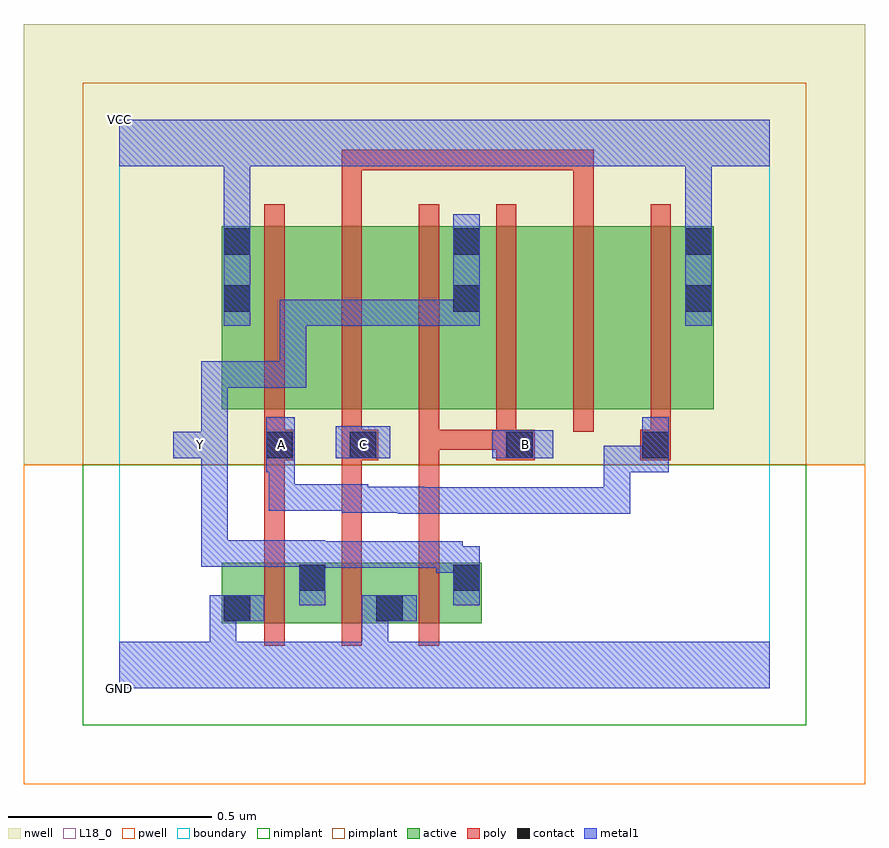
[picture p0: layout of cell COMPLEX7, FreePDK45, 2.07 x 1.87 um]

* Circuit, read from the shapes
.subckt COMPLEX7 A B C GND VCC Y
M1 Y A GND VSUBS nfet w=0.15u l=0.05u
M2 GND C Y VSUBS nfet w=0.15u l=0.05u
M3 Y B GND VSUBS nfet w=0.15u l=0.05u
M4 n1 A VCC n2 pfet w=0.45u l=0.05u
M5 n3 C n1 n2 pfet w=0.45u l=0.05u
M6 Y B n3 n2 pfet w=0.45u l=0.05u
M7 n4 B Y n2 pfet w=0.45u l=0.05u
M8 n5 C n4 n2 pfet w=0.45u l=0.05u
M9 VCC A n5 n2 pfet w=0.45u l=0.05u
.ends

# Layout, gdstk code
import gdstk
lib = gdstk.Library(unit=1e-6, precision=1e-09)
def R(c, l, rs):  # rectangles x0, y0, x1, y1
    for r in rs: c.add(gdstk.rectangle(r[:2], r[2:], *l))
def A(c, l, x, y, w, h, nx, ny, dx, dy):  # array of equal rectangles
    R(c, l, [(x+i*dx, y+j*dy, x+i*dx+w, y+j*dy+h) for i in range(nx) for j in range(ny)])
active = (1, 0)
pwell = (2, 0)
nwell = (3, 0)
nimplant = (4, 0)
pimplant = (5, 0)
poly = (9, 0)
contact = (10, 0)
metal1 = (11, 0)
L18_0 = (18, 0)
boundary = (235, 0)

complex7 = lib.new_cell('COMPLEX7')
R(complex7, active, [(0.252,0.16,0.512,0.31), (0.252,0.16,0.327,0.31), (0.437,0.16,0.702,0.31), (0.627,0.16,0.892,0.31), (0.627,0.16,0.702,0.275), (0.437,0.2,0.512,0.31), (0.817,0.2,0.892,0.31), (0.252,0.687,0.477,1.137), (0.477,0.687,0.667,1.137), (0.667,0.687,0.892,1.137), (0.817,0.687,1.047,1.137), (1.047,0.687,1.237,1.137), (1.237,0.687,1.462,1.137), (1.387,0.687,1.462,1.137), (0.817,0.732,0.892,1.137), (0.252,0.857,0.327,1.137)])
R(complex7, pwell, [(-0.235,-0.235,1.835,0.55)])
R(complex7, nwell, [(-0.235,0.55,1.835,1.635)])
R(complex7, nimplant, [(-0.09,-0.09,1.69,0.55)])
R(complex7, pimplant, [(-0.09,0.55,1.69,1.49)])
A(complex7, poly, 0.357, 0.105, 0.05, 0.26, 3, 1, 0.19, 0)
A(complex7, poly, 0.357, 0.587, 0.05, 0.095, 4, 1, 0.19, 0)
A(complex7, poly, 0.357, 0.632, 0.05, 0.56, 6, 1, 0.19, 0)
R(complex7, poly, [(0.357,0.315,0.407,0.612), (0.547,0.315,0.597,0.612), (0.737,0.315,0.787,0.637), (0.357,0.562,0.432,0.637), (0.547,0.562,0.597,0.612), (0.547,0.562,0.597,0.612), (0.547,0.562,0.637,0.637), (0.927,0.562,1.022,0.637), (1.282,0.562,1.357,0.637), (0.357,0.587,0.407,0.637), (0.357,0.587,0.407,0.637), (0.737,0.587,0.787,0.637), (0.737,0.587,0.787,0.637), (0.737,0.587,0.787,0.637), (0.737,0.587,0.977,0.637), (0.927,0.587,0.977,0.637), (0.927,0.587,0.977,0.637), (1.307,0.587,1.357,0.682), (1.307,0.587,1.357,0.637), (1.307,0.587,1.357,0.637), (0.547,1.142,0.597,1.325), (1.117,1.142,1.167,1.325), (0.547,1.275,0.597,1.325), (0.547,1.275,0.597,1.325), (0.547,1.275,0.597,1.325), (0.547,1.275,0.787,1.325), (0.737,1.275,0.787,1.325), (0.737,1.275,0.92,1.325), (0.87,1.275,0.92,1.325), (0.87,1.275,0.92,1.325), (0.87,1.275,0.92,1.325), (0.87,1.275,1.167,1.325), (1.117,1.275,1.167,1.325), (1.117,1.275,1.167,1.325), (1.117,1.275,1.167,1.325)])
R(complex7, contact, [(0.257,0.165,0.322,0.23), (0.632,0.165,0.697,0.23), (0.442,0.24,0.507,0.305), (0.822,0.24,0.887,0.305), (0.362,0.567,0.427,0.632), (0.567,0.567,0.632,0.632), (0.952,0.567,1.017,0.632), (1.287,0.567,1.352,0.632), (0.257,0.927,0.322,0.992), (0.822,0.927,0.887,0.992), (1.392,0.927,1.457,0.992), (0.257,1.067,0.322,1.132), (0.822,1.067,0.887,1.132), (1.392,1.067,1.457,1.132)])
R(complex7, metal1, [(0,0,1.6,0.115), (0.222,0.05,0.287,0.115), (0.222,0.05,0.287,0.115), (0.222,0.05,0.287,0.23), (0.597,0.05,0.662,0.115), (0.597,0.05,0.662,0.115), (0.597,0.05,0.662,0.23), (0.222,0.165,0.357,0.23), (0.597,0.165,0.732,0.23), (0.442,0.205,0.507,0.365), (0.822,0.205,0.887,0.35), (0.78,0.285,0.887,0.35), (0.78,0.285,0.845,0.362), (0.442,0.297,0.597,0.362), (0.532,0.297,0.597,0.362), (0.532,0.297,0.645,0.362), (0.58,0.297,0.645,0.362), (0.58,0.297,0.845,0.362), (0.202,0.3,0.267,0.367), (0.202,0.3,0.507,0.365), (0.202,0.302,0.267,0.367), (0.202,0.302,0.267,0.367), (0.202,0.302,0.267,0.632), (0.685,0.43,0.982,0.495), (0.685,0.43,0.75,0.497), (0.917,0.43,0.982,0.495), (0.917,0.43,0.982,0.495), (0.917,0.43,0.982,0.495), (0.917,0.43,1.12,0.495), (1.055,0.43,1.12,0.495), (1.055,0.43,1.12,0.495), (1.055,0.43,1.12,0.495), (1.055,0.43,1.257,0.495), (1.192,0.43,1.257,0.597), (0.547,0.432,0.75,0.497), (0.547,0.432,0.612,0.502), (0.685,0.432,0.75,0.497), (0.685,0.432,0.75,0.497), (0.367,0.437,0.612,0.502), (0.367,0.437,0.432,0.597), (0.362,0.532,0.432,0.667), (0.367,0.532,0.432,0.597), (1.192,0.532,1.352,0.597), (1.287,0.532,1.352,0.667), (0.132,0.567,0.267,0.632), (0.202,0.567,0.267,0.805), (0.532,0.567,0.667,0.645), (0.917,0.567,1.067,0.635), (0.202,0.74,0.267,0.805), (0.202,0.74,0.46,0.805), (0.395,0.74,0.46,0.805), (0.395,0.74,0.46,0.805), (0.395,0.74,0.46,0.805), (0.395,0.74,0.46,0.957), (0.257,0.892,0.322,1.167), (0.395,0.892,0.46,0.957), (0.395,0.892,0.612,0.957), (0.547,0.892,0.612,0.957), (0.547,0.892,0.75,0.957), (0.685,0.892,0.75,0.957), (0.685,0.892,0.75,0.957), (0.685,0.892,0.75,0.957), (0.685,0.892,0.887,0.957), (0.822,0.892,0.887,1.167), (1.392,0.892,1.457,1.167), (0.257,1.102,0.322,1.35), (1.392,1.102,1.457,1.35), (1.392,1.102,1.457,1.167), (1.392,1.102,1.457,1.167), (0,1.285,1.6,1.4), (0.257,1.285,0.322,1.35), (0.257,1.285,0.322,1.35), (0.257,1.285,0.322,1.35), (0.257,1.285,0.322,1.35), (1.392,1.285,1.457,1.35), (1.392,1.285,1.457,1.35)])
A(complex7, L18_0, 0.167, 0.567, 0.065, 0.065, 3, 1, 0.2, 0)
R(complex7, L18_0, [(0,0,1.6,0.115), (0.222,0.05,0.287,0.115), (0.222,0.05,0.287,0.115), (0.222,0.05,0.287,0.23), (0.597,0.05,0.662,0.115), (0.597,0.05,0.662,0.115), (0.597,0.05,0.662,0.23), (0.222,0.165,0.357,0.23), (0.597,0.165,0.732,0.23), (0.442,0.205,0.507,0.365), (0.822,0.205,0.887,0.35), (0.78,0.285,0.845,0.362), (0.78,0.285,0.887,0.35), (0.442,0.297,0.597,0.362), (0.532,0.297,0.597,0.362), (0.532,0.297,0.645,0.362), (0.58,0.297,0.645,0.362), (0.58,0.297,0.845,0.362), (0.202,0.3,0.267,0.367), (0.202,0.3,0.507,0.365), (0.202,0.302,0.267,0.367), (0.202,0.302,0.267,0.367), (0.202,0.302,0.267,0.632), (0.685,0.43,0.75,0.497), (0.685,0.43,0.982,0.495), (0.917,0.43,0.982,0.495), (0.917,0.43,0.982,0.495), (0.917,0.43,0.982,0.495), (0.917,0.43,1.12,0.495), (1.055,0.43,1.12,0.495), (1.055,0.43,1.12,0.495), (1.055,0.43,1.12,0.495), (1.055,0.43,1.257,0.495), (1.192,0.43,1.257,0.597), (0.547,0.432,0.612,0.502), (0.547,0.432,0.75,0.497), (0.685,0.432,0.75,0.497), (0.685,0.432,0.75,0.497), (0.367,0.437,0.432,0.597), (0.367,0.437,0.612,0.502), (0.362,0.532,0.432,0.667), (0.367,0.532,0.432,0.597), (1.192,0.532,1.352,0.597), (1.287,0.532,1.352,0.667), (0.132,0.567,0.267,0.632), (0.202,0.567,0.267,0.805), (0.532,0.567,0.667,0.645), (0.917,0.567,1.067,0.635), (0.967,0.567,1.032,0.632), (0.202,0.74,0.267,0.805), (0.202,0.74,0.46,0.805), (0.395,0.74,0.46,0.805), (0.395,0.74,0.46,0.805), (0.395,0.74,0.46,0.805), (0.395,0.74,0.46,0.957), (0.257,0.892,0.322,1.167), (0.395,0.892,0.46,0.957), (0.395,0.892,0.612,0.957), (0.547,0.892,0.612,0.957), (0.547,0.892,0.75,0.957), (0.685,0.892,0.75,0.957), (0.685,0.892,0.75,0.957), (0.685,0.892,0.75,0.957), (0.685,0.892,0.887,0.957), (0.822,0.892,0.887,1.167), (1.392,0.892,1.457,1.167), (0.257,1.102,0.322,1.35), (1.392,1.102,1.457,1.167), (1.392,1.102,1.457,1.167), (1.392,1.102,1.457,1.35), (0,1.285,1.6,1.4), (0.257,1.285,0.322,1.35), (0.257,1.285,0.322,1.35), (0.257,1.285,0.322,1.35), (0.257,1.285,0.322,1.35), (1.392,1.285,1.457,1.35), (1.392,1.285,1.457,1.35)])
R(complex7, boundary, [(0,0,1.6,1.4)])
complex7.add(gdstk.Label('A', (0.4,0.6), layer=11, texttype=0))
complex7.add(gdstk.Label('B', (1,0.6), layer=11, texttype=0))
complex7.add(gdstk.Label('C', (0.6,0.6), layer=11, texttype=0))
complex7.add(gdstk.Label('Y', (0.2,0.6), layer=11, texttype=0))
complex7.add(gdstk.Label('VCC', (0,1.4), layer=11, texttype=0))
complex7.add(gdstk.Label('GND', (0,0), layer=11, texttype=0))

lib.write_gds('COMPLEX7.gds')
